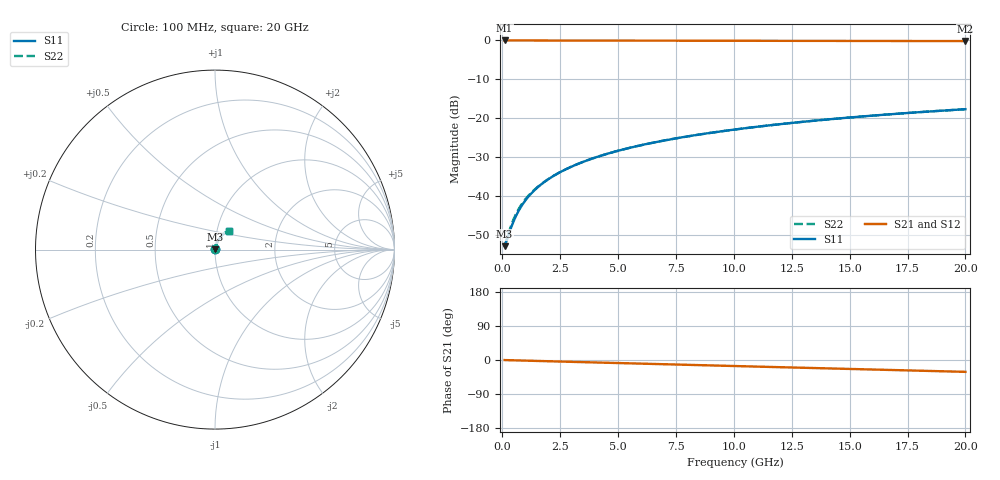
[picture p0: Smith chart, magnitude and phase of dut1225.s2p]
! Touchstone file exported from HFSS 2026.1.0
!  File:  C:/ffzhzh/LocalFiles/Ansys_Project_Files/temp_train_TMRDL_1225_1783163374_43440.aedt
!  Generated:  07:10:40 PM Jul  4, 2026
!  Design:  TMRDL
!  Project:  temp_train_TMRDL_1225_1783163374_43440
! Variables:
!  h_bsmrdl = 2um
!  h_ox = 20um
!  h_rdl = 5um
!  h_sub = 80um
!  h_tmrdl = 4.84um
!  h_tsv = 80um
!  h_via = 3um
!  l_bsmrdl = 300um
!  l_sub = 934.67um
!  l_tmrdl = 534.67um
!  m_sub = 200um
!  pitch = 31.24um
!  r_tsv = 6um
!  s_tmrdl = 10um
!  w_bsmrdl = 18um
!  w_sub = 500um
!  w_tmrdl = 21.66um
!  x_tsv_center1 = 545.5um
!  x_tsv_center2 = 863.5um
!  x_tsv_center3 = 1419.83um
!  x_tsv_center4 = 1737.83um
!  x_tsv_center5 = 2294.16um
!  x_tsv_center6 = 2612.16um
# GHz S MA R 50.000000
! Terminal data exported
! Port[1] = TM_RDL1_1_T1
! Port[2] = TM_RDL1_1_T2
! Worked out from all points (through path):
!   200 points, 100 MHz to 20 GHz, reference 50 ohm
!   highest |S21| = -0.02 dB at 100 MHz (marker M1); lowest = -0.2 dB at 20 GHz (marker M2)
!   group delay of S21, straight-line fit = 4.33 ps
!   lowest |S11| = -52.8 dB at 100 MHz (marker M3), VSWR 1.00, Z = 50.2 + j0.11 ohm
!   |S11| at or under -10 dB: start of sweep to end of sweep
!   |S22| runs from -52.8 to -17.6 dB; largest |S21 - S12| = 3.6e-15
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0.1  0.002303 28.4  0.998 -0.2  0.998 -0.2  0.002303 28.4
! Gamma 0 0 0 0
! Port Impedance 50 0 50 0
0.2  0.002766 42.0  0.9978 -0.4  0.9978 -0.4  0.002874 46.7
0.3  0.003403 51.9  0.9976 -0.5  0.9976 -0.5  0.003602 56.7
0.4  0.004129 58.4  0.9974 -0.7  0.9974 -0.7  0.004394 62.4
0.5  0.004899 62.8  0.9973 -0.8  0.9973 -0.8  0.005209 65.8
0.6  0.005691 65.9  0.9973 -1.0  0.9973 -1.0  0.006027 68.0
0.7  0.006495 68.1  0.9972 -1.2  0.9972 -1.2  0.00684 69.4
0.9  0.008109 70.9  0.9971 -1.5  0.9971 -1.5  0.008438 71.3
1.2  0.01051 73.1  0.9969 -2.0  0.9969 -2.0  0.01077 72.8
1.6  0.01364 74.4  0.9967 -2.6  0.9967 -2.6  0.0138 74.0
2.1  0.01747 75.0  0.9963 -3.4  0.9963 -3.4  0.01754 74.7
2.7  0.02196 75.1  0.9958 -4.4  0.9958 -4.4  0.02197 75.0
3.5  0.02782 74.7  0.995 -5.7  0.995 -5.7  0.02781 74.7
4.2  0.03285 74.2  0.9943 -6.8  0.9943 -6.8  0.03284 74.2
5  0.03849 73.4  0.9935 -8.1  0.9935 -8.1  0.03848 73.4
5.9  0.04471 72.3  0.9926 -9.5  0.9926 -9.5  0.04471 72.4
6.8  0.05082 71.2  0.9918 -10.9  0.9918 -10.9  0.05081 71.3
8.3  0.06078 69.4  0.9903 -13.2  0.9903 -13.2  0.06077 69.4
10.1  0.07243 67.1  0.9887 -16.0  0.9887 -16.0  0.07242 67.1
13.4  0.09307 62.7  0.9856 -21.1  0.9856 -21.1  0.09304 62.8
16.7  0.1127 58.1  0.9825 -26.2  0.9825 -26.2  0.1127 58.2
20  0.1313 53.5  0.9793 -31.3  0.9793 -31.3  0.1312 53.6
